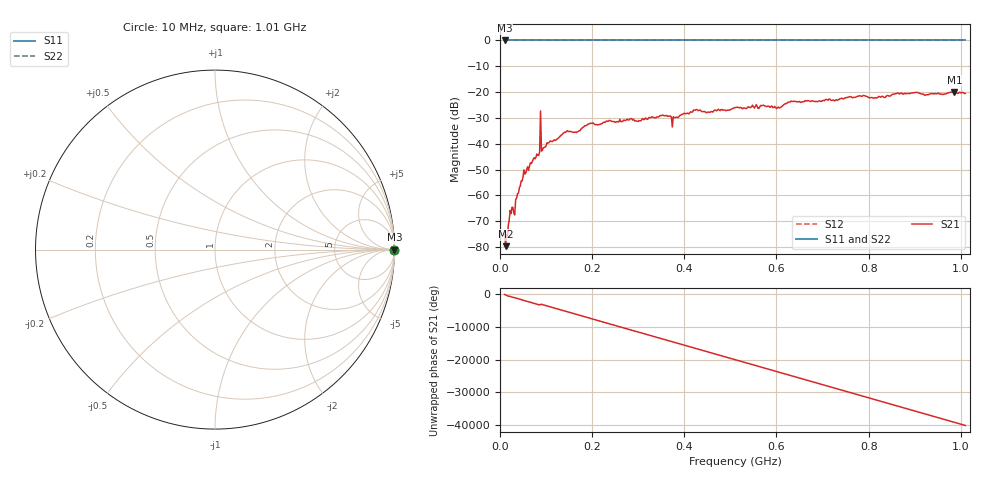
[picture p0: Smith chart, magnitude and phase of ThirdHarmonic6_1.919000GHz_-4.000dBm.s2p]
! 8/16/2025 11:08:19 PM
! C:\ANRITSUVNA\TEMP\TEMP.S2P
! CHANNEL.1
! TR.MEASUREMENT
! RAW.DATA
! RF.CORRECTION.OFF
! AVERAGING.OFF
! IF.BANDWIDTH: 5KHZ
! SWEEPTYPE:  FREQ.SWEEP(Linear)
! Reference Plane Port Info
! PORT:  PORT1  PORT2
! DISTANCE:  0  m  0  m
! TIME:  0  s  0  s
! PHASE.OFFSET:  0  deg.  0  deg.
! LOSS:  0  dB  0  dB
! REF.LOSS:  0  dB  0  dB
! REF.FREQ:  0  Hz  0  Hz
! Power Info
! POWER:  -20  dBm  -20  dBm
! EFF.POWER:  -20  dBm  -20  dBm
! SOURCE.ATTEN:  0  dB  0  dB
! TEST.ATTEN:  0  dB  0  dB
# GHZ S RI R 50.0
! FREQ.GHZ  S11RE  S11IM  S21RE  S21IM  S12RE  S12IM  S22RE  S22IM
!; PortSelection: Port_12
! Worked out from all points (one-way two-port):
!   501 points, 10 MHz to 1.01 GHz, reference 50 ohm
!   highest |S21| = -19.96 dB at 986 MHz (marker M1); lowest = -79.6 dB at 12 MHz (marker M2)
!   lowest |S11| = 0.0 dB at 10 MHz (marker M3)
!   |S11| at or under -10 dB: nowhere
!   |S22| runs from 0.0 to 0.0 dB; largest |S21 - S12| = 1.1
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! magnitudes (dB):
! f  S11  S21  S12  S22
! 10 MHz  0.0  -73.6  0.0  0.0
! 12 MHz  0.0  -79.6  0.0  0.0
! 16 MHz  0.0  -75.8  0.0  0.0
! 24 MHz  0.0  -67.0  0.0  0.0
! 34 MHz  0.0  -61.6  0.0  0.0
! 48 MHz  0.0  -54.4  0.0  0.0
! 82 MHz  0.0  -44.4  0.0  0.0
! 84 MHz  0.0  -44.5  0.0  0.0
! 92 MHz  0.0  -42.4  0.0  0.0
! 94 MHz  0.0  -41.6  0.0  0.0
! 142 MHz  0.0  -35.6  0.0  0.0
! 178 MHz  0.0  -33.9  0.0  0.0
! 344 MHz  0.0  -29.6  0.0  0.0
! 378 MHz  0.0  -29.8  0.0  0.0
! 424 MHz  0.0  -27.0  0.0  0.0
! 510 MHz  0.0  -26.0  0.0  0.0
! 604 MHz  0.0  -25.8  0.0  0.0
! 630 MHz  0.0  -23.8  0.0  0.0
! 678 MHz  0.0  -23.3  0.0  0.0
! 844 MHz  0.0  -21.5  0.0  0.0
! 986 MHz  0.0  -20.0  0.0  0.0
! 1.01 GHz  0.0  -20.5  0.0  0.0
